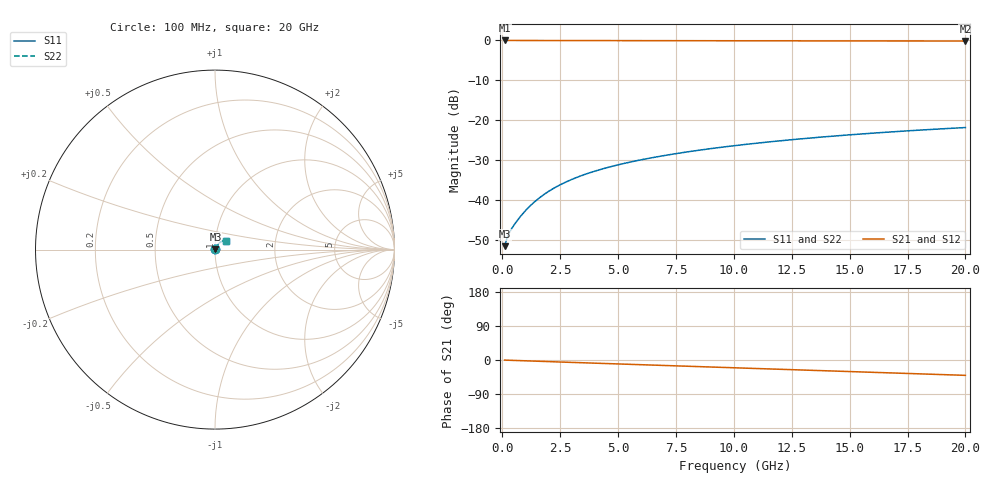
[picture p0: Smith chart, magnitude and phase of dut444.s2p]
! Touchstone file exported from HFSS 2026.1.0
!  File:  C:/ffzhzh/LocalFiles/Ansys_Project_Files/temp_train_TMRDL_444_1783005698_51716.aedt
!  Generated:  11:22:53 PM Jul  2, 2026
!  Design:  TMRDL
!  Project:  temp_train_TMRDL_444_1783005698_51716
! Variables:
!  h_bsmrdl = 2um
!  h_ox = 20um
!  h_rdl = 5um
!  h_sub = 80um
!  h_tmrdl = 5.26um
!  h_tsv = 80um
!  h_via = 3um
!  l_bsmrdl = 300um
!  l_sub = 1120.39um
!  l_tmrdl = 720.39um
!  m_sub = 200um
!  pitch = 30.38um
!  r_tsv = 6um
!  s_tmrdl = 10um
!  w_bsmrdl = 18um
!  w_sub = 500um
!  w_tmrdl = 23.02um
!  x_tsv_center1 = 731.9um
!  x_tsv_center2 = 1049.9um
!  x_tsv_center3 = 1793.31um
!  x_tsv_center4 = 2111.31um
!  x_tsv_center5 = 2854.72um
!  x_tsv_center6 = 3172.72um
# GHz S MA R 50.000000
! Terminal data exported
! Port[1] = TM_RDL1_1_T1
! Port[2] = TM_RDL1_1_T2
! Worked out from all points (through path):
!   200 points, 100 MHz to 20 GHz, reference 50 ohm
!   highest |S21| = -0.02 dB at 100 MHz (marker M1); lowest = -0.2 dB at 20 GHz (marker M2)
!   group delay of S21, straight-line fit = 5.6 ps
!   lowest |S11| = -51.7 dB at 100 MHz (marker M3), VSWR 1.01, Z = 50.2 + j0.105 ohm
!   |S11| at or under -10 dB: start of sweep to end of sweep
!   |S22| runs from -51.7 to -21.9 dB; largest |S21 - S12| = 3.1e-15
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0.1  0.002614 23.6  0.9976 -0.2  0.9976 -0.2  0.002614 23.6
! Gamma 0 0 0 0
! Port Impedance 50 0 50 0
0.2  0.00328 33.2  0.9973 -0.5  0.9973 -0.5  0.00328 33.2
0.3  0.003834 38.2  0.997 -0.7  0.997 -0.7  0.003834 38.2
0.5  0.004785 45.9  0.9967 -1.1  0.9967 -1.1  0.004785 45.9
0.7  0.005746 51.8  0.9966 -1.5  0.9966 -1.5  0.005746 51.8
0.9  0.006762 56.1  0.9964 -1.9  0.9964 -1.9  0.006763 56.1
1.3  0.008904 61.3  0.9961 -2.8  0.9961 -2.8  0.008905 61.3
1.5  0.009998 62.8  0.9959 -3.2  0.9959 -3.2  0.009999 62.8
1.8  0.01164 64.2  0.9956 -3.8  0.9956 -3.8  0.01164 64.2
2.3  0.01434 65.3  0.995 -4.9  0.995 -4.9  0.01434 65.2
2.9  0.01747 65.3  0.9943 -6.1  0.9943 -6.1  0.01748 65.3
3.5  0.02046 64.9  0.9935 -7.4  0.9935 -7.4  0.02047 64.8
4.2  0.02379 64.0  0.9927 -8.8  0.9927 -8.8  0.0238 64.0
5  0.02742 62.9  0.9918 -10.4  0.9918 -10.4  0.02743 62.9
5.8  0.03089 61.8  0.9909 -12.0  0.9909 -12.0  0.0309 61.7
6.8  0.03506 60.3  0.9899 -14.1  0.9899 -14.1  0.03509 60.2
8.3  0.04107 58.1  0.9885 -17.1  0.9885 -17.1  0.0411 58.0
10.1  0.04797 55.3  0.987 -20.7  0.987 -20.7  0.04801 55.1
11.7  0.05385 52.8  0.9858 -23.9  0.9858 -23.9  0.05391 52.6
13.4  0.05985 50.0  0.9846 -27.3  0.9846 -27.3  0.05992 49.7
16.7  0.07073 44.4  0.9823 -33.9  0.9823 -33.9  0.07084 44.1
20  0.08052 38.6  0.9802 -40.5  0.9802 -40.5  0.08067 38.2
